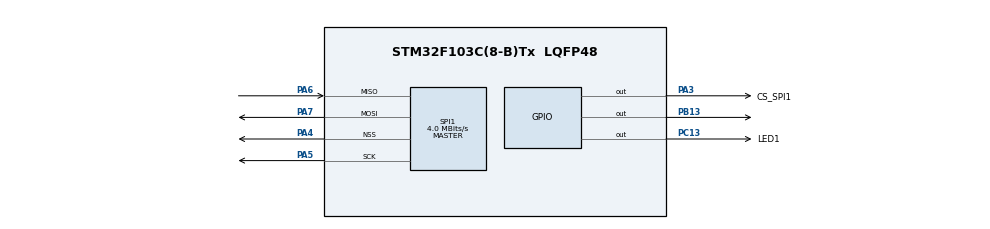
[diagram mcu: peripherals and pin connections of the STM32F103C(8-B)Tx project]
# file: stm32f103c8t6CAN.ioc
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Mcu.Family=STM32F1
Mcu.Name=STM32F103C(8-B)Tx
Mcu.Package=LQFP48
NVIC.PriorityGroup=NVIC_PRIORITYGROUP_4
PA13.Mode=Serial_Wire
PA13.Signal=SYS_JTMS-SWDIO
PA14.Mode=Serial_Wire
PA14.Signal=SYS_JTCK-SWCLK
PA3.GPIO_Label=CS_SPI1
PA3.Signal=GPIO_Output
PA4.Mode=NSS_Signal_Hard_Output
PA4.Signal=SPI1_NSS
PA5.Mode=Full_Duplex_Master
PA5.Signal=SPI1_SCK
PA6.Mode=Full_Duplex_Master
PA6.Signal=SPI1_MISO
PA7.Mode=Full_Duplex_Master
PA7.Signal=SPI1_MOSI
PB13.Signal=GPIO_Output
PC13-TAMPER-RTC.GPIO_Label=LED1
PC13-TAMPER-RTC.Signal=GPIO_Output
PD0-OSC_IN.Mode=HSE-External-Oscillator
PD0-OSC_IN.Signal=RCC_OSC_IN
PD1-OSC_OUT.Mode=HSE-External-Oscillator
PD1-OSC_OUT.Signal=RCC_OSC_OUT
ProjectManager.HeapSize=0x200
ProjectManager.StackSize=0x400
ProjectManager.TargetToolchain=STM32CubeIDE
RCC.APB1Freq_Value=8000000
RCC.APB2Freq_Value=8000000
RCC.SYSCLKSource=RCC_SYSCLKSOURCE_HSE
SPI1.CalculateBaudRate=4.0 MBits/s
SPI1.Direction=SPI_DIRECTION_2LINES
SPI1.Mode=SPI_MODE_MASTER
SPI1.VirtualNSS=VM_NSSHARD
SPI1.VirtualType=VM_MASTER
board=custom

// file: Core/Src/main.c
/* USER CODE BEGIN Header */
/* USER CODE END Header */
#include "main.h"

/* USER CODE BEGIN Includes */
#include "CANSPI.h"
/* USER CODE END Includes */

void SystemClock_Config(void);
static void MX_GPIO_Init(void);
static void MX_SPI1_Init(void);

/* USER CODE BEGIN 0 */
uCAN_MSG txMessage;
uCAN_MSG rxMessage;
/* USER CODE END 0 */

int main(void)
{

  /* MCU Configuration--------------------------------------------------------*/

  /* Reset of all peripherals, Initializes the Flash interface and the Systick. */
  LL_APB2_GRP1_EnableClock(LL_APB2_GRP1_PERIPH_AFIO);
  LL_APB1_GRP1_EnableClock(LL_APB1_GRP1_PERIPH_PWR);

  /* System interrupt init*/
  NVIC_SetPriorityGrouping(NVIC_PRIORITYGROUP_4);

  /* SysTick_IRQn interrupt configuration */
  NVIC_SetPriority(SysTick_IRQn, NVIC_EncodePriority(NVIC_GetPriorityGrouping(),15, 0));

  /** NOJTAG: JTAG-DP Disabled and SW-DP Enabled
  */
  LL_GPIO_AF_Remap_SWJ_NOJTAG();

  /* Configure the system clock */
  SystemClock_Config();

  /* Initialize all configured peripherals */
  MX_GPIO_Init();
  MX_SPI1_Init();
  /* USER CODE BEGIN 2 */
  if(!CANSPI_Initialize())
	  while(1);
  /* USER CODE END 2 */

  /* Infinite loop */
  /* USER CODE BEGIN WHILE */
  while (1)
  {
//    if (CANSPI_Receive(&rxMessage))
//    {
//    	if((txMessage.frame.id)==0xA0)
//    		{LL_GPIO_TogglePin(GPIOC, LL_GPIO_PIN_13);}
////      txMessage.frame.idType = rxMessage.frame.idType;
////      txMessage.frame.id = rxMessage.frame.id;
////      txMessage.frame.dlc = rxMessage.frame.dlc;
////      txMessage.frame.data0++;
////      txMessage.frame.data1 = rxMessage.frame.data1;
////      txMessage.frame.data2 = rxMessage.frame.data2;
////      txMessage.frame.data3 = rxMessage.frame.data3;
////      txMessage.frame.data4 = rxMessage.frame.data4;
////      txMessage.frame.data5 = rxMessage.frame.data5;
////      txMessage.frame.data6 = rxMessage.frame.data6;
////      txMessage.frame.data7 = rxMessage.frame.data7;
////      CANSPI_Transmit(&txMessage);
//    }
    txMessage.frame.idType = dSTANDARD_CAN_MSG_ID_2_0B;
    txMessage.frame.id = 0x0A;
    txMessage.frame.dlc = 8;
    txMessage.frame.data0 = 0;
    txMessage.frame.data1 = 1;
    txMessage.frame.data2 = 2;
    txMessage.frame.data3 = 3;
    txMessage.frame.data4 = 4;
    txMessage.frame.data5 = 5;
    txMessage.frame.data6 = 6;
    txMessage.frame.data7 = 7;
    if(CANSPI_Transmit(&txMessage))
    	LL_GPIO_TogglePin(GPIOC, LL_GPIO_PIN_13);

    LL_mDelay(3000);

    /* USER CODE END WHILE */

  }
}

void SystemClock_Config(void)
{
  LL_FLASH_SetLatency(LL_FLASH_LATENCY_0);
  while(LL_FLASH_GetLatency()!= LL_FLASH_LATENCY_0)
  {
  }
  LL_RCC_HSE_Enable();

   /* Wait till HSE is ready */
  while(LL_RCC_HSE_IsReady() != 1)
  {

  }
  LL_RCC_SetAHBPrescaler(LL_RCC_SYSCLK_DIV_1);
  LL_RCC_SetAPB1Prescaler(LL_RCC_APB1_DIV_1);
  LL_RCC_SetAPB2Prescaler(LL_RCC_APB2_DIV_1);
  LL_RCC_SetSysClkSource(LL_RCC_SYS_CLKSOURCE_HSE);

   /* Wait till System clock is ready */
  while(LL_RCC_GetSysClkSource() != LL_RCC_SYS_CLKSOURCE_STATUS_HSE)
  {

  }
  LL_Init1msTick(8000000);
  LL_SetSystemCoreClock(8000000);
}

static void MX_SPI1_Init(void)
{

  LL_SPI_InitTypeDef SPI_InitStruct = {0};

  LL_GPIO_InitTypeDef GPIO_InitStruct = {0};

  /* Peripheral clock enable */
  LL_APB2_GRP1_EnableClock(LL_APB2_GRP1_PERIPH_SPI1);

  LL_APB2_GRP1_EnableClock(LL_APB2_GRP1_PERIPH_GPIOA);
  /**SPI1 GPIO Configuration
  PA4   ------> SPI1_NSS
  PA5   ------> SPI1_SCK
  PA6   ------> SPI1_MISO
  PA7   ------> SPI1_MOSI
  */
  GPIO_InitStruct.Pin = LL_GPIO_PIN_4|LL_GPIO_PIN_5|LL_GPIO_PIN_7;
  GPIO_InitStruct.Mode = LL_GPIO_MODE_ALTERNATE;
  GPIO_InitStruct.Speed = LL_GPIO_SPEED_FREQ_HIGH;
  GPIO_InitStruct.OutputType = LL_GPIO_OUTPUT_PUSHPULL;
  LL_GPIO_Init(GPIOA, &GPIO_InitStruct);

  GPIO_InitStruct.Pin = LL_GPIO_PIN_6;
  GPIO_InitStruct.Mode = LL_GPIO_MODE_FLOATING;
  LL_GPIO_Init(GPIOA, &GPIO_InitStruct);

  /* SPI1 parameter configuration*/
  SPI_InitStruct.TransferDirection = LL_SPI_FULL_DUPLEX;
  SPI_InitStruct.Mode = LL_SPI_MODE_MASTER;
  SPI_InitStruct.DataWidth = LL_SPI_DATAWIDTH_8BIT;
  SPI_InitStruct.ClockPolarity = LL_SPI_POLARITY_LOW;
  SPI_InitStruct.ClockPhase = LL_SPI_PHASE_1EDGE;
  SPI_InitStruct.NSS = LL_SPI_NSS_HARD_OUTPUT;
  SPI_InitStruct.BaudRate = LL_SPI_BAUDRATEPRESCALER_DIV2;
  SPI_InitStruct.BitOrder = LL_SPI_MSB_FIRST;
  SPI_InitStruct.CRCCalculation = LL_SPI_CRCCALCULATION_DISABLE;
  SPI_InitStruct.CRCPoly = 10;
  LL_SPI_Init(SPI1, &SPI_InitStruct);
  /* USER CODE BEGIN SPI1_Init 2 */
  LL_SPI_Enable(SPI1);
  /* USER CODE END SPI1_Init 2 */

}

static void MX_GPIO_Init(void)
{
  LL_GPIO_InitTypeDef GPIO_InitStruct = {0};

  /* GPIO Ports Clock Enable */
  LL_APB2_GRP1_EnableClock(LL_APB2_GRP1_PERIPH_GPIOC);
  LL_APB2_GRP1_EnableClock(LL_APB2_GRP1_PERIPH_GPIOD);
  LL_APB2_GRP1_EnableClock(LL_APB2_GRP1_PERIPH_GPIOA);
  LL_APB2_GRP1_EnableClock(LL_APB2_GRP1_PERIPH_GPIOB);

  /**/
  LL_GPIO_ResetOutputPin(LED1_GPIO_Port, LED1_Pin);

  /**/
  LL_GPIO_ResetOutputPin(CS_SPI1_GPIO_Port, CS_SPI1_Pin);

  /**/
  LL_GPIO_ResetOutputPin(GPIOB, LL_GPIO_PIN_13);

  /**/
  GPIO_InitStruct.Pin = LED1_Pin;
  GPIO_InitStruct.Mode = LL_GPIO_MODE_OUTPUT;
  GPIO_InitStruct.Speed = LL_GPIO_SPEED_FREQ_LOW;
  GPIO_InitStruct.OutputType = LL_GPIO_OUTPUT_PUSHPULL;
  LL_GPIO_Init(LED1_GPIO_Port, &GPIO_InitStruct);

  /**/
  GPIO_InitStruct.Pin = CS_SPI1_Pin;
  GPIO_InitStruct.Mode = LL_GPIO_MODE_OUTPUT;
  GPIO_InitStruct.Speed = LL_GPIO_SPEED_FREQ_LOW;
  GPIO_InitStruct.OutputType = LL_GPIO_OUTPUT_PUSHPULL;
  LL_GPIO_Init(CS_SPI1_GPIO_Port, &GPIO_InitStruct);

  /**/
  GPIO_InitStruct.Pin = LL_GPIO_PIN_13;
  GPIO_InitStruct.Mode = LL_GPIO_MODE_OUTPUT;
  GPIO_InitStruct.Speed = LL_GPIO_SPEED_FREQ_LOW;
  GPIO_InitStruct.OutputType = LL_GPIO_OUTPUT_PUSHPULL;
  LL_GPIO_Init(GPIOB, &GPIO_InitStruct);

}

void Error_Handler(void)
{
}
